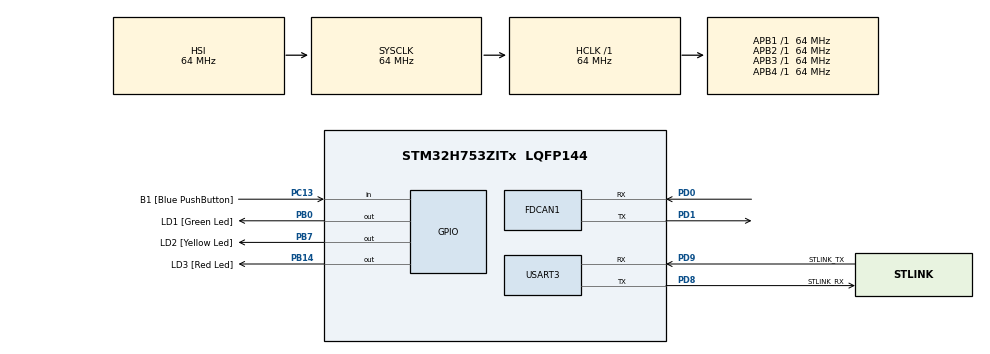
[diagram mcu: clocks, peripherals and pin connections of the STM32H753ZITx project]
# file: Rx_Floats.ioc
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CORTEX_M7.CPU_DCache=Disabled
CORTEX_M7.CPU_ICache=Disabled
CORTEX_M7.MPU_Control=__NULL
CORTEX_M7.default_mode_Activation=1
FDCAN1.AutoRetransmission=ENABLE
FDCAN1.CalculateBaudRateNominal=500000
FDCAN1.CalculateTimeBitNominal=2000
FDCAN1.CalculateTimeQuantumNominal=25.0
FDCAN1.DataPrescaler=16
FDCAN1.DataSyncJumpWidth=2
FDCAN1.DataTimeSeg1=2
FDCAN1.DataTimeSeg2=2
FDCAN1.FrameFormat=FDCAN_FRAME_FD_BRS
FDCAN1.MessageRAMOffset=1
FDCAN1.NominalPrescaler=1
FDCAN1.NominalSyncJumpWidth=11
FDCAN1.NominalTimeSeg1=68
FDCAN1.NominalTimeSeg2=11
FDCAN1.RxFifo0ElmtSize=FDCAN_DATA_BYTES_32
FDCAN1.RxFifo0ElmtsNbr=1
FDCAN1.TxElmtSize=FDCAN_DATA_BYTES_32
Mcu.Family=STM32H7
Mcu.Name=STM32H753ZITx
Mcu.Package=LQFP144
NVIC.FDCAN1_IT0_IRQn=true\:0\:0\:false\:false\:true\:true\:true\:true
NVIC.PriorityGroup=NVIC_PRIORITYGROUP_4
PB0.GPIO_Label=LD1 [Green Led]
PB0.Signal=GPIO_Output
PB14.GPIO_Label=LD3 [Red Led]
PB14.Signal=GPIO_Output
PB7.GPIO_Label=LD2 [Yellow Led]
PB7.Signal=GPIO_Output
PC13.GPIO_Label=B1 [Blue PushButton]
PC13.Signal=GPIO_Input
PC14-OSC32_IN\ (OSC32_IN).Signal=RCC_OSC32_IN
PC15-OSC32_OUT\ (OSC32_OUT).Signal=RCC_OSC32_OUT
PD0.Mode=FDCAN_Activate
PD0.Signal=FDCAN1_RX
PD1.Mode=FDCAN_Activate
PD1.Signal=FDCAN1_TX
PD8.GPIO_Label=STLINK_RX
PD8.Mode=Asynchronous
PD8.Signal=USART3_TX
PD9.GPIO_Label=STLINK_TX
PD9.Mode=Asynchronous
PD9.Signal=USART3_RX
PH0-OSC_IN\ (PH0).Signal=RCC_OSC_IN
PH1-OSC_OUT\ (PH1).Signal=RCC_OSC_OUT
ProjectManager.HeapSize=0x200
ProjectManager.StackSize=0x400
ProjectManager.TargetToolchain=STM32CubeIDE
RCC.ADCFreq_Value=129000000
RCC.APB1Freq_Value=64000000
RCC.APB2Freq_Value=64000000
RCC.APB3Freq_Value=64000000
RCC.APB4Freq_Value=64000000
RCC.CortexFreq_Value=64000000
RCC.DIVM1=4
RCC.DIVN1=10
RCC.DIVQ1=4
RCC.HCLKFreq_Value=64000000
RCC.HSE_VALUE=8000000
RCC.PLLFRACN=0
RCC.PWR_Regulator_Voltage_Scale=PWR_REGULATOR_VOLTAGE_SCALE2
RCC.SYSCLKFreq_VALUE=64000000
RCC.USBFreq_Value=40000000
USART3.VirtualMode-Asynchronous=VM_ASYNC
VP_MEMORYMAP_VS_MEMORYMAP.Mode=CurAppReg
board=NUCLEO-H753ZI

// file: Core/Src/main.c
/* USER CODE BEGIN Header */
/**
  ******************************************************************************
  * @file           : main.c
  * @brief          : Main program body
  ******************************************************************************
  * @attention
  *
  * Copyright (c) 2025 STMicroelectronics.
  * All rights reserved.
  *
  * This software is licensed under terms that can be found in the LICENSE file
  * in the root directory of this software component.
  * If no LICENSE file comes with this software, it is provided AS-IS.
  *
  ******************************************************************************
  */
/* USER CODE END Header */
#include "main.h"

/* USER CODE BEGIN Includes */
#include "string.h"
#include "stdio.h"

#define NODE_A_ID 1
#define NODE_B_ID 2

#define ID_NODE_A_TX 0x100
#define ID_NODE_A_RX 0x101
#define ID_NODE_B_TX 0x101
#define ID_NODE_B_RX 0x100
/* USER CODE END Includes */

/* USER CODE BEGIN PTD */
uint8_t Node_ID = NODE_B_ID;
FDCAN_RxHeaderTypeDef RxHeader;

uint8_t RxData[32];
float r_f1;
float r_f2;
float r_f3;
float r_f4;
float r_f5;
float r_f6;
float r_f7;
float r_f8;

char msg[400];
/* USER CODE END PTD */

FDCAN_HandleTypeDef hfdcan1;

UART_HandleTypeDef huart3;

void SystemClock_Config(void);
static void MX_GPIO_Init(void);
static void MX_FDCAN1_Init(void);
static void MX_USART3_UART_Init(void);

/* USER CODE BEGIN 0 */

void HAL_FDCAN_RxFifo0Callback(FDCAN_HandleTypeDef *hfdcan, uint32_t RxFifo0ITs)
{
  if ((RxFifo0ITs & FDCAN_IT_RX_FIFO0_NEW_MESSAGE) != 0)
  {

	    HAL_FDCAN_GetRxMessage(hfdcan, FDCAN_RX_FIFO0, &RxHeader, RxData);

	    memcpy(&r_f1, &RxData[0], sizeof(float));
	    memcpy(&r_f2, &RxData[4], sizeof(float));
	    memcpy(&r_f3, &RxData[8], sizeof(float));
	    memcpy(&r_f4, &RxData[12], sizeof(float));
	    memcpy(&r_f5, &RxData[16], sizeof(float));
	    memcpy(&r_f6, &RxData[20], sizeof(float));
	    memcpy(&r_f7, &RxData[24], sizeof(float));

	    //HAL_UART_Transmit(&huart3, ptr, sizeof(float), HAL_MAX_DELAY);

	    //ptr = (uint8_t*)&r_f1;
	    //HAL_UART_Transmit(&huart3, ptr, sizeof(float), HAL_MAX_DELAY);
	    //memcpy(&r_f8, &RxData[28], sizeof(float));

	    int len = snprintf(msg, sizeof(msg), "Temp: %.2f  Humidity: %.2f \r\n Ax: %.2f Ay: %.2f  Az: %.2f  \r\n Angle: %.2f  RPM: %.f  \r\n", r_f1,r_f2,r_f3,r_f4,r_f5,r_f6,r_f7);
	    HAL_UART_Transmit(&huart3, (uint8_t *)msg, len, HAL_MAX_DELAY);

	    //float values[7] = {r_f1, r_f2, r_f3, r_f4, r_f5, r_f6, r_f7};
	    //HAL_UART_Transmit(&huart3, (uint8_t*)values, sizeof(values), HAL_MAX_DELAY);

  }
}
/* USER CODE END 0 */

int main(void)
{

  /* MCU Configuration--------------------------------------------------------*/

  /* Reset of all peripherals, Initializes the Flash interface and the Systick. */
  HAL_Init();

  /* Configure the system clock */
  SystemClock_Config();

  /* Initialize all configured peripherals */
  MX_GPIO_Init();
  MX_FDCAN1_Init();
  MX_USART3_UART_Init();
  /* USER CODE BEGIN 2 */
  float valor = 3.14159f;  // número de prueba
  uint8_t *ptr;

  // Configurar el filtro para recibir solo del otro nodo
  FDCAN_FilterTypeDef sFilterConfig;
  sFilterConfig.IdType = FDCAN_STANDARD_ID;
  sFilterConfig.FilterIndex = 0;
  sFilterConfig.FilterType = FDCAN_FILTER_MASK;
  sFilterConfig.FilterConfig = FDCAN_FILTER_TO_RXFIFO0;
  sFilterConfig.FilterID1 = ID_NODE_B_RX;
  sFilterConfig.FilterID2 = 0x7FF;
  HAL_FDCAN_ConfigFilter(&hfdcan1, &sFilterConfig);

  HAL_FDCAN_Start(&hfdcan1);
  HAL_FDCAN_ActivateNotification(&hfdcan1, FDCAN_IT_RX_FIFO0_NEW_MESSAGE, 0);
  /* USER CODE END 2 */

  /* Infinite loop */
  while (1)
  {

    /* USER CODE BEGIN 3 */
      //ptr = (uint8_t*)&valor;
      // Enviar el float (4 bytes)
      //HAL_UART_Transmit(&huart3, ptr, sizeof(float), HAL_MAX_DELAY);
      // Esperar 100 ms
      //HAL_Delay(100);
  }
  /* USER CODE END 3 */
}

void SystemClock_Config(void)
{
  RCC_OscInitTypeDef RCC_OscInitStruct = {0};
  RCC_ClkInitTypeDef RCC_ClkInitStruct = {0};

  /** Supply configuration update enable
  */
  HAL_PWREx_ConfigSupply(PWR_LDO_SUPPLY);

  /** Configure the main internal regulator output voltage
  */
  __HAL_PWR_VOLTAGESCALING_CONFIG(PWR_REGULATOR_VOLTAGE_SCALE2);

  while(!__HAL_PWR_GET_FLAG(PWR_FLAG_VOSRDY)) {}

  /** Initializes the RCC Oscillators according to the specified parameters
  * in the RCC_OscInitTypeDef structure.
  */
  RCC_OscInitStruct.OscillatorType = RCC_OSCILLATORTYPE_HSI;
  RCC_OscInitStruct.HSIState = RCC_HSI_DIV1;
  RCC_OscInitStruct.HSICalibrationValue = RCC_HSICALIBRATION_DEFAULT;
  RCC_OscInitStruct.PLL.PLLState = RCC_PLL_ON;
  RCC_OscInitStruct.PLL.PLLSource = RCC_PLLSOURCE_HSI;
  RCC_OscInitStruct.PLL.PLLM = 4;
  RCC_OscInitStruct.PLL.PLLN = 10;
  RCC_OscInitStruct.PLL.PLLP = 2;
  RCC_OscInitStruct.PLL.PLLQ = 4;
  RCC_OscInitStruct.PLL.PLLR = 2;
  RCC_OscInitStruct.PLL.PLLRGE = RCC_PLL1VCIRANGE_3;
  RCC_OscInitStruct.PLL.PLLVCOSEL = RCC_PLL1VCOMEDIUM;
  RCC_OscInitStruct.PLL.PLLFRACN = 0;
  if (HAL_RCC_OscConfig(&RCC_OscInitStruct) != HAL_OK)
  {
    Error_Handler();
  }

  /** Initializes the CPU, AHB and APB buses clocks
  */
  RCC_ClkInitStruct.ClockType = RCC_CLOCKTYPE_HCLK|RCC_CLOCKTYPE_SYSCLK
                              |RCC_CLOCKTYPE_PCLK1|RCC_CLOCKTYPE_PCLK2
                              |RCC_CLOCKTYPE_D3PCLK1|RCC_CLOCKTYPE_D1PCLK1;
  RCC_ClkInitStruct.SYSCLKSource = RCC_SYSCLKSOURCE_HSI;
  RCC_ClkInitStruct.SYSCLKDivider = RCC_SYSCLK_DIV1;
  RCC_ClkInitStruct.AHBCLKDivider = RCC_HCLK_DIV1;
  RCC_ClkInitStruct.APB3CLKDivider = RCC_APB3_DIV1;
  RCC_ClkInitStruct.APB1CLKDivider = RCC_APB1_DIV1;
  RCC_ClkInitStruct.APB2CLKDivider = RCC_APB2_DIV1;
  RCC_ClkInitStruct.APB4CLKDivider = RCC_APB4_DIV1;

  if (HAL_RCC_ClockConfig(&RCC_ClkInitStruct, FLASH_LATENCY_1) != HAL_OK)
  {
    Error_Handler();
  }
}

static void MX_FDCAN1_Init(void)
{

  hfdcan1.Instance = FDCAN1;
  hfdcan1.Init.FrameFormat = FDCAN_FRAME_FD_BRS;
  hfdcan1.Init.Mode = FDCAN_MODE_NORMAL;
  hfdcan1.Init.AutoRetransmission = ENABLE;
  hfdcan1.Init.TransmitPause = DISABLE;
  hfdcan1.Init.ProtocolException = DISABLE;
  hfdcan1.Init.NominalPrescaler = 1;
  hfdcan1.Init.NominalSyncJumpWidth = 11;
  hfdcan1.Init.NominalTimeSeg1 = 68;
  hfdcan1.Init.NominalTimeSeg2 = 11;
  hfdcan1.Init.DataPrescaler = 16;
  hfdcan1.Init.DataSyncJumpWidth = 2;
  hfdcan1.Init.DataTimeSeg1 = 2;
  hfdcan1.Init.DataTimeSeg2 = 2;
  hfdcan1.Init.MessageRAMOffset = 1;
  hfdcan1.Init.StdFiltersNbr = 0;
  hfdcan1.Init.ExtFiltersNbr = 0;
  hfdcan1.Init.RxFifo0ElmtsNbr = 1;
  hfdcan1.Init.RxFifo0ElmtSize = FDCAN_DATA_BYTES_32;
  hfdcan1.Init.RxFifo1ElmtsNbr = 0;
  hfdcan1.Init.RxFifo1ElmtSize = FDCAN_DATA_BYTES_8;
  hfdcan1.Init.RxBuffersNbr = 0;
  hfdcan1.Init.RxBufferSize = FDCAN_DATA_BYTES_8;
  hfdcan1.Init.TxEventsNbr = 0;
  hfdcan1.Init.TxBuffersNbr = 0;
  hfdcan1.Init.TxFifoQueueElmtsNbr = 0;
  hfdcan1.Init.TxFifoQueueMode = FDCAN_TX_FIFO_OPERATION;
  hfdcan1.Init.TxElmtSize = FDCAN_DATA_BYTES_32;
  if (HAL_FDCAN_Init(&hfdcan1) != HAL_OK)
  {
    Error_Handler();
  }

}

static void MX_USART3_UART_Init(void)
{

  huart3.Instance = USART3;
  huart3.Init.BaudRate = 115200;
  huart3.Init.WordLength = UART_WORDLENGTH_8B;
  huart3.Init.StopBits = UART_STOPBITS_1;
  huart3.Init.Parity = UART_PARITY_NONE;
  huart3.Init.Mode = UART_MODE_TX_RX;
  huart3.Init.HwFlowCtl = UART_HWCONTROL_NONE;
  huart3.Init.OverSampling = UART_OVERSAMPLING_16;
  huart3.Init.OneBitSampling = UART_ONE_BIT_SAMPLE_DISABLE;
  huart3.Init.ClockPrescaler = UART_PRESCALER_DIV1;
  huart3.AdvancedInit.AdvFeatureInit = UART_ADVFEATURE_NO_INIT;
  if (HAL_UART_Init(&huart3) != HAL_OK)
  {
    Error_Handler();
  }
  if (HAL_UARTEx_SetTxFifoThreshold(&huart3, UART_TXFIFO_THRESHOLD_1_8) != HAL_OK)
  {
    Error_Handler();
  }
  if (HAL_UARTEx_SetRxFifoThreshold(&huart3, UART_RXFIFO_THRESHOLD_1_8) != HAL_OK)
  {
    Error_Handler();
  }
  if (HAL_UARTEx_DisableFifoMode(&huart3) != HAL_OK)
  {
    Error_Handler();
  }

}

static void MX_GPIO_Init(void)
{
  GPIO_InitTypeDef GPIO_InitStruct = {0};

  /* GPIO Ports Clock Enable */
  __HAL_RCC_GPIOC_CLK_ENABLE();
  __HAL_RCC_GPIOH_CLK_ENABLE();
  __HAL_RCC_GPIOB_CLK_ENABLE();
  __HAL_RCC_GPIOD_CLK_ENABLE();

  /*Configure GPIO pin Output Level */
  HAL_GPIO_WritePin(GPIOB, LD1_Pin|LD3_Pin|LD2_Pin, GPIO_PIN_RESET);

  /*Configure GPIO pin : B1_Pin */
  GPIO_InitStruct.Pin = B1_Pin;
  GPIO_InitStruct.Mode = GPIO_MODE_INPUT;
  GPIO_InitStruct.Pull = GPIO_NOPULL;
  HAL_GPIO_Init(B1_GPIO_Port, &GPIO_InitStruct);

  /*Configure GPIO pins : LD1_Pin LD3_Pin LD2_Pin */
  GPIO_InitStruct.Pin = LD1_Pin|LD3_Pin|LD2_Pin;
  GPIO_InitStruct.Mode = GPIO_MODE_OUTPUT_PP;
  GPIO_InitStruct.Pull = GPIO_NOPULL;
  GPIO_InitStruct.Speed = GPIO_SPEED_FREQ_LOW;
  HAL_GPIO_Init(GPIOB, &GPIO_InitStruct);

}

void Error_Handler(void)
{
  __disable_irq();
  while (1)
  {
  }
}
